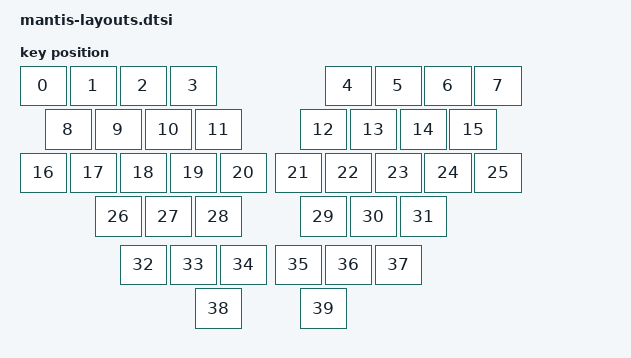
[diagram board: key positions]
/*
 * Copyright (c) 2024 Joshua Lucas
 *
 * SPDX-License-Identifier: MIT
 */

 #include <physical_layouts.dtsi>

/ {
	physical_layout0: physical_layout_0 {
		compatible = "zmk,physical-layout";
		display-name = "Mantis Layout";
		transform = <&default_transform>;
		kscan = <&kscan0>;
		keys  //					 w   h	x	y	 rot	rx	ry
			= <&key_physical_attrs 100  87	0	0	   0	 0	 0> //J
			, <&key_physical_attrs 100  87  100	0	   0	 0	 0> //Q
			, <&key_physical_attrs 100  87  200	0	   0	 0	 0> //W
			, <&key_physical_attrs 100  87  300	0	   0	 0	 0> //E
			, <&key_physical_attrs 100  87  610	0	   0	 0	 0> //I
			, <&key_physical_attrs 100  87  710	0	   0	 0	 0> //O
			, <&key_physical_attrs 100  87  810	0	   0	 0	 0> //P
			, <&key_physical_attrs 100  87  910	0	   0	 0	 0> //'

			, <&key_physical_attrs 100  87   50   87	   0	 0	 0> //A
			, <&key_physical_attrs 100  87  150   87	   0	 0	 0> //S
			, <&key_physical_attrs 100  87  250   87	   0	 0	 0> //D
			, <&key_physical_attrs 100  87  350   87	   0	 0	 0> //R
			, <&key_physical_attrs 100  87  560   87	   0	 0	 0> //U
			, <&key_physical_attrs 100  87  660   87	   0	 0	 0> //K
			, <&key_physical_attrs 100  87  760   87	   0	 0	 0> //L
			, <&key_physical_attrs 100  87  860   87	   0	 0	 0> //B

			, <&key_physical_attrs 100  87	0  174	   0	 0	 0> //Z
			, <&key_physical_attrs 100  87  100  174	   0	 0	 0> //X
			, <&key_physical_attrs 100  87  200  174	   0	 0	 0> //C
			, <&key_physical_attrs 100  87  300  174	   0	 0	 0> //F
			, <&key_physical_attrs 100  87  400  174	   0	 0	 0> //T
			, <&key_physical_attrs 100  87  510  174	   0	 0	 0> //Y
			, <&key_physical_attrs 100  87  610  174	   0	 0	 0> //N
			, <&key_physical_attrs 100  87  710  174	   0	 0	 0> //,
			, <&key_physical_attrs 100  87  810  174	   0	 0	 0> //.
			, <&key_physical_attrs 100  87  910  174	   0	 0	 0> ///

			, <&key_physical_attrs 100  87  150  261	   0	 0	 0> //Win
			, <&key_physical_attrs 100  87  250  261	   0	 0	 0> //V
			, <&key_physical_attrs 100  87  350  261	   0	 0	 0> //G
			, <&key_physical_attrs 100  87  560  261	   0	 0	 0> //H
			, <&key_physical_attrs 100  87  660  261	   0	 0	 0> //M
			, <&key_physical_attrs 100  87  760  261	   0	 0	 0> //Menu

			, <&key_physical_attrs 100  87  200  358	   0	 0	 0> //Alt
			, <&key_physical_attrs 100  87  300  358	   0	 0	 0> //Bspc
			, <&key_physical_attrs 100  87  400  358	   0	 0	 0> //_
			, <&key_physical_attrs 100  87  510  358	   0	 0	 0> //Ent
			, <&key_physical_attrs 100  87  610  358	   0	 0	 0> //Spc
			, <&key_physical_attrs 100  87  710  358	   0	 0	 0> //Del

			, <&key_physical_attrs 100  87  350  445	   0	 0	 0> //-
			, <&key_physical_attrs 100  87  560  445	   0	 0	 0> //Tab
			;
	};
};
